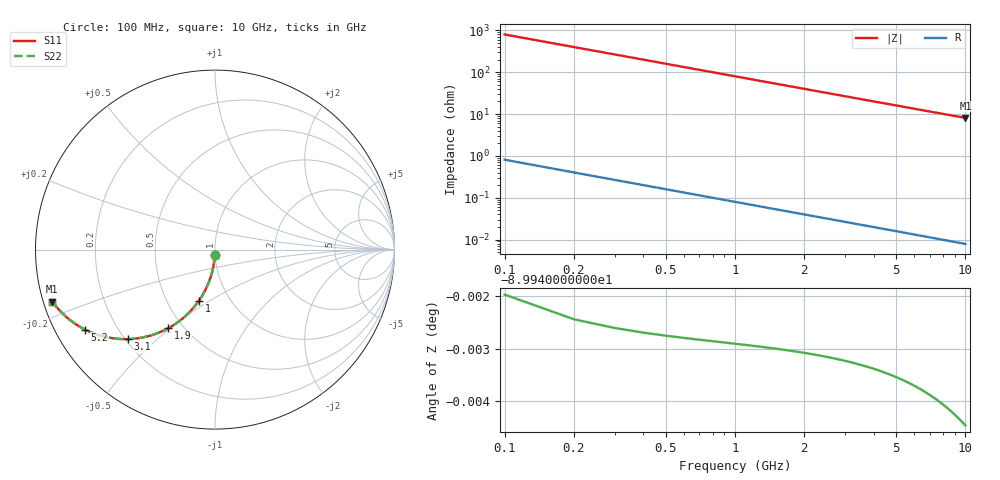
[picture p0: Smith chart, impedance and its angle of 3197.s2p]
# Hz S RI R 50.00
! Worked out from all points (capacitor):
!   100 points, 100 MHz to 10 GHz, reference 50 ohm
!   read as one part in shunt: C = 1.99 pF near 100 MHz
!   lowest |Z| = 8.09 ohm at 10 GHz (marker M1)
!   S11 on the Smith chart (normalised r, x): 100 MHz: 1.00, -0.06; 1 GHz: 0.72, -0.45; 1.9 GHz: 0.41, -0.49; 3.1 GHz: 0.21, -0.41; 5.2 GHz: 0.09, -0.28; 10 GHz: 0.03, -0.16
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1e8  -0.001 -0.0313  0.999 -0.0313  0.999 -0.0313  -0.001 -0.0313
2e8  -0.00396 -0.0624  0.996 -0.0624  0.996 -0.0624  -0.00396 -0.0624
3e8  -0.00883 -0.0931  0.9911 -0.0932  0.9911 -0.0932  -0.00883 -0.0931
4e8  -0.0156 -0.1232  0.9844 -0.1234  0.9844 -0.1234  -0.0156 -0.1232
5e8  -0.0241 -0.1527  0.9759 -0.1529  0.9759 -0.1529  -0.0241 -0.1527
6e8  -0.0343 -0.1813  0.9657 -0.1815  0.9657 -0.1815  -0.0343 -0.1813
7e8  -0.046 -0.2089  0.9539 -0.2092  0.9539 -0.2092  -0.046 -0.2089
8e8  -0.0593 -0.2355  0.9407 -0.2358  0.9407 -0.2358  -0.0593 -0.2355
1e9  -0.0895 -0.2848  0.9105 -0.2852  0.9105 -0.2852  -0.0895 -0.2848
1.2e9  -0.1239 -0.3288  0.8761 -0.3292  0.8761 -0.3292  -0.1239 -0.3288
1.4e9  -0.1613 -0.3671  0.8386 -0.3676  0.8386 -0.3676  -0.1613 -0.3671
1.8e9  -0.2411 -0.4269  0.7589 -0.4276  0.7589 -0.4276  -0.2411 -0.4269
1.9e9  -0.2614 -0.4385  0.7386 -0.4392  0.7386 -0.4392  -0.2614 -0.4385
2.5e9  -0.3795 -0.4843  0.6205 -0.4853  0.6205 -0.4853  -0.3795 -0.4843
3.1e9  -0.4843 -0.4986  0.5157 -0.4999  0.5157 -0.4999  -0.4843 -0.4986
3.4e9  -0.5302 -0.4979  0.4697 -0.4993  0.4697 -0.4993  -0.5302 -0.4979
4.2e9  -0.6322 -0.4809  0.3677 -0.4825  0.3677 -0.4825  -0.6322 -0.4809
5.1e9  -0.7167 -0.4491  0.2833 -0.4511  0.2833 -0.4511  -0.7167 -0.4491
5.2e9  -0.7245 -0.4452  0.2755 -0.4473  0.2755 -0.4473  -0.7245 -0.4452
6.7e9  -0.8131 -0.388  0.1868 -0.3906  0.1868 -0.3906  -0.8131 -0.388
8.4e9  -0.8721 -0.3318  0.1278 -0.3351  0.1278 -0.3351  -0.8721 -0.3318
1e10  -0.9061 -0.2892  0.0939 -0.2932  0.0939 -0.2932  -0.9061 -0.2892
